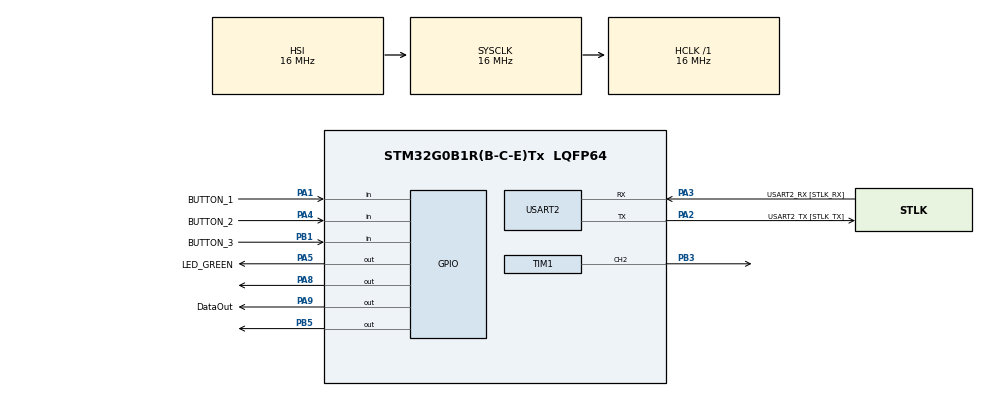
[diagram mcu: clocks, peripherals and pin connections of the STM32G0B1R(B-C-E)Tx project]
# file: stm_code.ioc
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Mcu.Family=STM32G0
Mcu.Name=STM32G0B1R(B-C-E)Tx
Mcu.Package=LQFP64
NVIC.USART2_LPUART2_IRQn=true\:0\:0\:false\:false\:true\:true\:true\:true
PA1.GPIO_Label=BUTTON_1
PA1.GPIO_PuPd=GPIO_PULLUP
PA1.Signal=GPIO_Input
PA13.GPIO_Label=TMS
PA13.Mode=Serial_Wire
PA13.Signal=SYS_SWDIO
PA14-BOOT0.GPIO_Label=TCK
PA14-BOOT0.Mode=Serial_Wire
PA14-BOOT0.Signal=SYS_SWCLK
PA2.GPIO_Label=USART2_TX [STLK_TX]
PA2.Mode=Asynchronous
PA2.Signal=USART2_TX
PA3.GPIO_Label=USART2_RX [STLK_RX]
PA3.Mode=Asynchronous
PA3.Signal=USART2_RX
PA4.GPIO_Label=BUTTON_2
PA4.GPIO_PuPd=GPIO_PULLUP
PA4.Signal=GPIO_Input
PA5.GPIO_Label=LED_GREEN
PA5.GPIO_Speed=GPIO_SPEED_FREQ_HIGH
PA5.Signal=GPIO_Output
PA8.Signal=GPIO_Output
PA9.GPIO_Label=DataOut
PA9.Signal=GPIO_Output
PB1.GPIO_Label=BUTTON_3
PB1.GPIO_PuPd=GPIO_PULLUP
PB1.Signal=GPIO_Input
PB3.Signal=S_TIM1_CH2
PB5.Signal=GPIO_Output
PC13.Mode=SYS_WakeUp1
PC13.Signal=SYS_WKUP2
PC14-OSC32_IN\ (PC14).Mode=LSE-External-Oscillator
PC14-OSC32_IN\ (PC14).Signal=RCC_OSC32_IN
PC15-OSC32_OUT\ (PC15).Mode=LSE-External-Oscillator
PC15-OSC32_OUT\ (PC15).Signal=RCC_OSC32_OUT
PF0-OSC_IN\ (PF0).GPIO_Label=MCO
PF0-OSC_IN\ (PF0).Mode=HSE-External-Clock-Source
PF0-OSC_IN\ (PF0).Signal=RCC_OSC_IN
ProjectManager.HeapSize=0x200
ProjectManager.StackSize=0x400
ProjectManager.TargetToolchain=STM32CubeIDE
RCC.AHBFreq_Value=16000000
RCC.CortexFreq_Value=16000000
RCC.EXTERNAL_CLOCK_VALUE=12288000
RCC.HCLKFreq_Value=16000000
RCC.HSE_VALUE=8000000
RCC.HSI48_VALUE=48000000
RCC.HSI_VALUE=16000000
RCC.SYSCLKFreq_VALUE=16000000
RCC.USBFreq_Value=48000000
RCC.VCOOutputFreq_Value=128000000
SH.S_TIM1_CH2.0=TIM1_CH2,PWM Generation2 CH2
TIM1.Channel-PWM\ Generation2\ CH2=TIM_CHANNEL_2
TIM1.Period=10000
TIM1.Prescaler=16-1
USART2.VirtualMode-Asynchronous=VM_ASYNC
VP_TIM1_VS_ClockSourceINT.Mode=Internal
board=NUCLEO-G0B1RE

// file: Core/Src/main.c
/* USER CODE BEGIN Header */
/**
  ******************************************************************************
  * @file           : main.c
  * @brief          : Main program body
  ******************************************************************************
  * @attention
  *
  * Copyright (c) 2024 STMicroelectronics.
  * All rights reserved.
  *
  * This software is licensed under terms that can be found in the LICENSE file
  * in the root directory of this software component.
  * If no LICENSE file comes with this software, it is provided AS-IS.
  *
  ******************************************************************************
  */
/* USER CODE END Header */
#include "main.h"
#include "tim.h"
#include "usart.h"
#include "gpio.h"

/* USER CODE BEGIN Includes */
#include "buzzer.h"
/* USER CODE END Includes */

void SystemClock_Config(void);

int main(void)
{

  /* MCU Configuration--------------------------------------------------------*/

  /* Reset of all peripherals, Initializes the Flash interface and the Systick. */
  HAL_Init();

  /* Configure the system clock */
  SystemClock_Config();

  /* Initialize all configured peripherals */
  MX_GPIO_Init();
  MX_USART2_UART_Init();
  MX_TIM1_Init();
  /* USER CODE BEGIN 2 */
  MC74HCT595A_init();
  /* USER CODE END 2 */

  /* Infinite loop */
  /* USER CODE BEGIN WHILE */

  uint8_t Rx_data[1024] = {0};  //  creating a buffer of 10 bytes
  uint16_t frequnecy_usart[20]={0};
  uint16_t type_usart[20]={0};
  uint16_t bpm_usart[20]={0};
    uint8_t tones = 0;
    uint8_t commas = 0;
  bool start_read = false;
   buzzer_stop();
    uint16_t freq = 0;

    bool button_pressed = false;
    bool ricko_rool = false;
    while (1)
    {

    /* USER CODE END WHILE */

    /* USER CODE BEGIN 3 */
    if(freq>=10000)
        writeToRegisters(9999);
    else
        writeToRegisters(freq);
    if(!HAL_GPIO_ReadPin (GPIOA, GPIO_PIN_1)){
        if(freq<10000 && !button_pressed)
            freq+=100;
        button_pressed = true;
         buzzer_freq(freq);
	}else if(!HAL_GPIO_ReadPin (GPIOA, GPIO_PIN_4)){
        if(freq>0 && !button_pressed)
            freq-=100;
		button_pressed = true;
         buzzer_freq(freq);
	}else if(!HAL_GPIO_ReadPin (GPIOB, GPIO_PIN_1)){
		if(!button_pressed){
			if(!ricko_rool){
				 play_scale();
				 ricko_rool = true;
			}else{
				 play_rick_roll();
				 ricko_rool = false;
			}
		}
		 button_pressed = true;
	}else{
		buzzer_freq(0);
	}
    if(HAL_GPIO_ReadPin (GPIOA, GPIO_PIN_1) && HAL_GPIO_ReadPin (GPIOA, GPIO_PIN_4) && HAL_GPIO_ReadPin (GPIOB, GPIO_PIN_1)){
        button_pressed = false;
    }

    HAL_UART_Receive (&huart2, Rx_data, 1, 10);  // receive 4 bytes of data
    if(Rx_data[0] == '$'){
    	HAL_UART_Receive (&huart2, Rx_data, 1024, 500);
		if(Rx_data[0] == '&'){
			char *temp;
			temp = malloc(5*sizeof(char));
			int j = 0;
			for(size_t i = 1; i <100;i++){
				if(Rx_data[i] == '%'){
					free(temp);
					break;
				}
				else if(Rx_data[i] == ','){
					commas++;
					switch (commas)
					{
					case 1:
						temp[j]='\0';
						frequnecy_usart[tones] = atoi(temp);
						break;
					case 2:
						temp[j]='\0';
						type_usart[tones] = atoi(temp);
						break;
					case 3:
						temp[j]='\0';
						bpm_usart[tones] = atoi(temp);
						break;
					default:
						break;
					}
					j=0;
					free(temp);
					temp = malloc(5*sizeof(char));
				}else{
					temp[j++] = Rx_data[i];
				}
				if(commas == 3){
					commas = 0;
					play_swarowski(frequnecy_usart[tones], type_usart[tones], bpm_usart[tones]);
					tones++;
					if(tones >= 20)
						tones = 0;
				}
			}
		}

    }
//    	HAL_UART_Transmit(&huart2,Rx_data,sizeof(Rx_data),10);// Sending in normal mode
   Rx_data[0] = 0;
//	HAL_Delay(1000);
//	  play_scale();
//	  play_rick_roll();

//	  HAL_Delay(100);
//	  buzzer_stop();
//	  HAL_Delay(100);

  }
  /* USER CODE END 3 */
}

void SystemClock_Config(void)
{
  RCC_OscInitTypeDef RCC_OscInitStruct = {0};
  RCC_ClkInitTypeDef RCC_ClkInitStruct = {0};

  /** Configure the main internal regulator output voltage
  */
  HAL_PWREx_ControlVoltageScaling(PWR_REGULATOR_VOLTAGE_SCALE1);

  /** Initializes the RCC Oscillators according to the specified parameters
  * in the RCC_OscInitTypeDef structure.
  */
  RCC_OscInitStruct.OscillatorType = RCC_OSCILLATORTYPE_HSI;
  RCC_OscInitStruct.HSIState = RCC_HSI_ON;
  RCC_OscInitStruct.HSIDiv = RCC_HSI_DIV1;
  RCC_OscInitStruct.HSICalibrationValue = RCC_HSICALIBRATION_DEFAULT;
  RCC_OscInitStruct.PLL.PLLState = RCC_PLL_NONE;
  if (HAL_RCC_OscConfig(&RCC_OscInitStruct) != HAL_OK)
  {
    Error_Handler();
  }

  /** Initializes the CPU, AHB and APB buses clocks
  */
  RCC_ClkInitStruct.ClockType = RCC_CLOCKTYPE_HCLK|RCC_CLOCKTYPE_SYSCLK
                              |RCC_CLOCKTYPE_PCLK1;
  RCC_ClkInitStruct.SYSCLKSource = RCC_SYSCLKSOURCE_HSI;
  RCC_ClkInitStruct.AHBCLKDivider = RCC_SYSCLK_DIV1;
  RCC_ClkInitStruct.APB1CLKDivider = RCC_HCLK_DIV1;

  if (HAL_RCC_ClockConfig(&RCC_ClkInitStruct, FLASH_LATENCY_0) != HAL_OK)
  {
    Error_Handler();
  }
}

void Error_Handler(void)
{
  __disable_irq();
  while (1)
  {
  }
}
